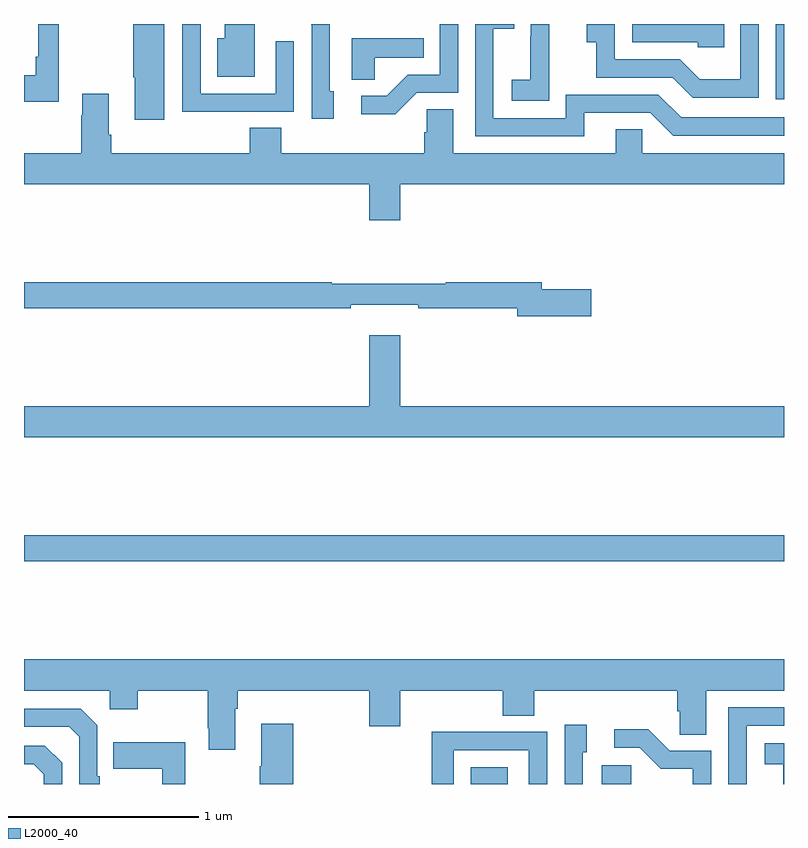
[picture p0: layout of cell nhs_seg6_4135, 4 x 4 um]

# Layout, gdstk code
import gdstk
lib = gdstk.Library(unit=1e-6, precision=1e-09)
def R(c, l, rs):  # rectangles x0, y0, x1, y1
    for r in rs: c.add(gdstk.rectangle(r[:2], r[2:], *l))
def P(c, l, *ps):  # polygons
    for p in ps: c.add(gdstk.Polygon(p, *l))
L2000_40 = (2000, 40)

nhs_seg6_4135 = lib.new_cell('nhs_seg6_4135')
R(nhs_seg6_4135, L2000_40, [(357.35,957.5,357.547,957.589), (358.04,957.5,358.197,957.598), (355,958.672,359,958.808), (358.956,961.104,359,961.5)])
P(nhs_seg6_4135, L2000_40, [(356.215,961.5),(356.057,961.5),(356.057,961.426),(356.018,961.426),(356.018,961.223),(356.215,961.223)],
  [(357.949,961.032),(358.296,961.032),(358.416,960.912),(359,960.912),(359,961.008),(358.458,961.008),(358.338,961.128),(357.852,961.128),(357.852,961.005),(357.471,961.005),(357.471,961.474),(357.581,961.474),(357.581,961.5),(357.375,961.5),(357.375,960.909),(357.949,960.909)],
  [(356.629,961.146),(356.61,961.146),(356.61,961.5),(356.512,961.5),(356.512,961.495),(356.514,961.495),(356.514,961.002),(356.629,961.002)],
  [(358.866,961.5),(358.77,961.5),(358.77,961.21),(358.556,961.21),(358.452,961.314),(358.11,961.314),(358.11,961.5),(357.963,961.5),(357.963,961.403),(358.012,961.403),(358.012,961.218),(358.415,961.218),(358.52,961.113),(358.866,961.113)],
  [(356.105,961.038),(356.421,961.038),(356.421,961.408),(356.325,961.408),(356.325,961.134),(355.929,961.134),(355.929,961.5),(355.833,961.5),(355.833,961.037),(356.105,961.037)],
  [(357.066,961.137),(357.285,961.137),(357.285,961.5),(357.189,961.5),(357.189,961.233),(357.02,961.233),(356.909,961.122),(356.775,961.122),(356.775,961.025),(356.953,961.025)],
  [(355.183,961.5),(355.074,961.5),(355.074,961.327),(355.062,961.327),(355.062,961.231),(355,961.231),(355,961.091),(355.183,961.091)],
  [(355.738,961.5),(355.576,961.5),(355.576,961.219),(355.583,961.219),(355.583,960.996),(355.738,960.996)],
  [(358.685,961.5),(358.2,961.5),(358.2,961.404),(358.545,961.404),(358.545,961.377),(358.685,961.377)],
  [(357.765,961.303),(357.764,961.303),(357.764,961.5),(357.666,961.5),(357.666,961.436),(357.665,961.436),(357.665,961.207),(357.567,961.207),(357.567,961.097),(357.765,961.097)],
  [(356.847,961.322),(357.104,961.322),(357.104,961.426),(356.726,961.426),(356.726,961.207),(356.847,961.207)],
  [(356.98,960.656),(359,960.656),(359,960.82),(358.254,960.82),(358.254,960.947),(358.115,960.947),(358.115,960.82),(357.259,960.82),(357.259,961.052),(357.12,961.052),(357.12,960.929),(357.107,960.929),(357.107,960.82),(356.354,960.82),(356.354,960.953),(356.189,960.953),(356.189,960.82),(355.46,960.82),(355.46,960.916),(355.447,960.916),(355.447,961.132),(355.307,961.132),(355.307,961.019),(355.3,961.019),(355.3,960.82),(355,960.82),(355,960.656),(356.816,960.656),(356.816,960.468),(356.98,960.468)],
  [(357.985,960.104),(357.724,960.104),(357.724,960.14),(357.22,960.14),(357.22,960.133),(356.62,960.133),(356.62,960.14),(355,960.14),(355,960.004),(356.72,960.004),(356.72,960.023),(357.076,960.023),(357.076,960.004),(357.596,960.004),(357.596,959.962),(357.985,959.962)],
  [(359,959.488),(356.98,959.488),(356.98,959.863),(356.816,959.863),(356.816,959.488),(355,959.488),(355,959.324),(359,959.324)],
  [(356.113,957.896),(356.126,957.896),(356.126,957.992),(356.816,957.992),(356.816,957.804),(356.98,957.804),(356.98,957.992),(357.521,957.992),(357.521,957.859),(357.686,957.859),(357.686,957.992),(358.439,957.992),(358.439,957.883),(358.452,957.883),(358.452,957.76),(358.591,957.76),(358.591,957.992),(359,957.992),(359,958.156),(355,958.156),(355,957.992),(355.452,957.992),(355.452,957.893),(355.599,957.893),(355.599,957.992),(355.966,957.992),(355.966,957.793),(355.973,957.793),(355.973,957.681),(356.113,957.681)],
  [(358.803,957.807),(359,957.807),(359,957.903),(358.707,957.903),(358.707,957.5),(358.803,957.5)],
  [(355.399,957.541),(355.386,957.541),(355.386,957.81),(355.299,957.897),(355,957.897),(355,957.801),(355.239,957.801),(355.29,957.75),(355.29,957.5),(355.399,957.5)],
  [(356.417,957.817),(356.249,957.817),(356.249,957.593),(356.242,957.593),(356.242,957.5),(356.417,957.5)],
  [(357.942,957.666),(357.961,957.666),(357.961,957.811),(357.846,957.811),(357.846,957.5),(357.942,957.5)],
  [(358.617,957.675),(358.398,957.675),(358.285,957.788),(358.107,957.788),(358.107,957.69),(358.241,957.69),(358.352,957.579),(358.521,957.579),(358.521,957.5),(358.617,957.5)],
  [(357.261,957.678),(357.657,957.678),(357.657,957.5),(357.753,957.5),(357.753,957.774),(357.437,957.774),(357.437,957.776),(357.145,957.776),(357.145,957.5),(357.261,957.5)],
  [(355.849,957.721),(355.471,957.721),(355.471,957.581),(355.728,957.581),(355.728,957.5),(355.849,957.5)],
  [(359,957.715),(358.899,957.715),(358.899,957.605),(358.997,957.605),(358.997,957.5),(359,957.5)],
  [(355.2,957.612),(355.11,957.702),(355,957.702),(355,957.605),(355.051,957.605),(355.104,957.552),(355.104,957.5),(355.2,957.5)])

lib.write_gds('nhs_seg6_4135.gds')
